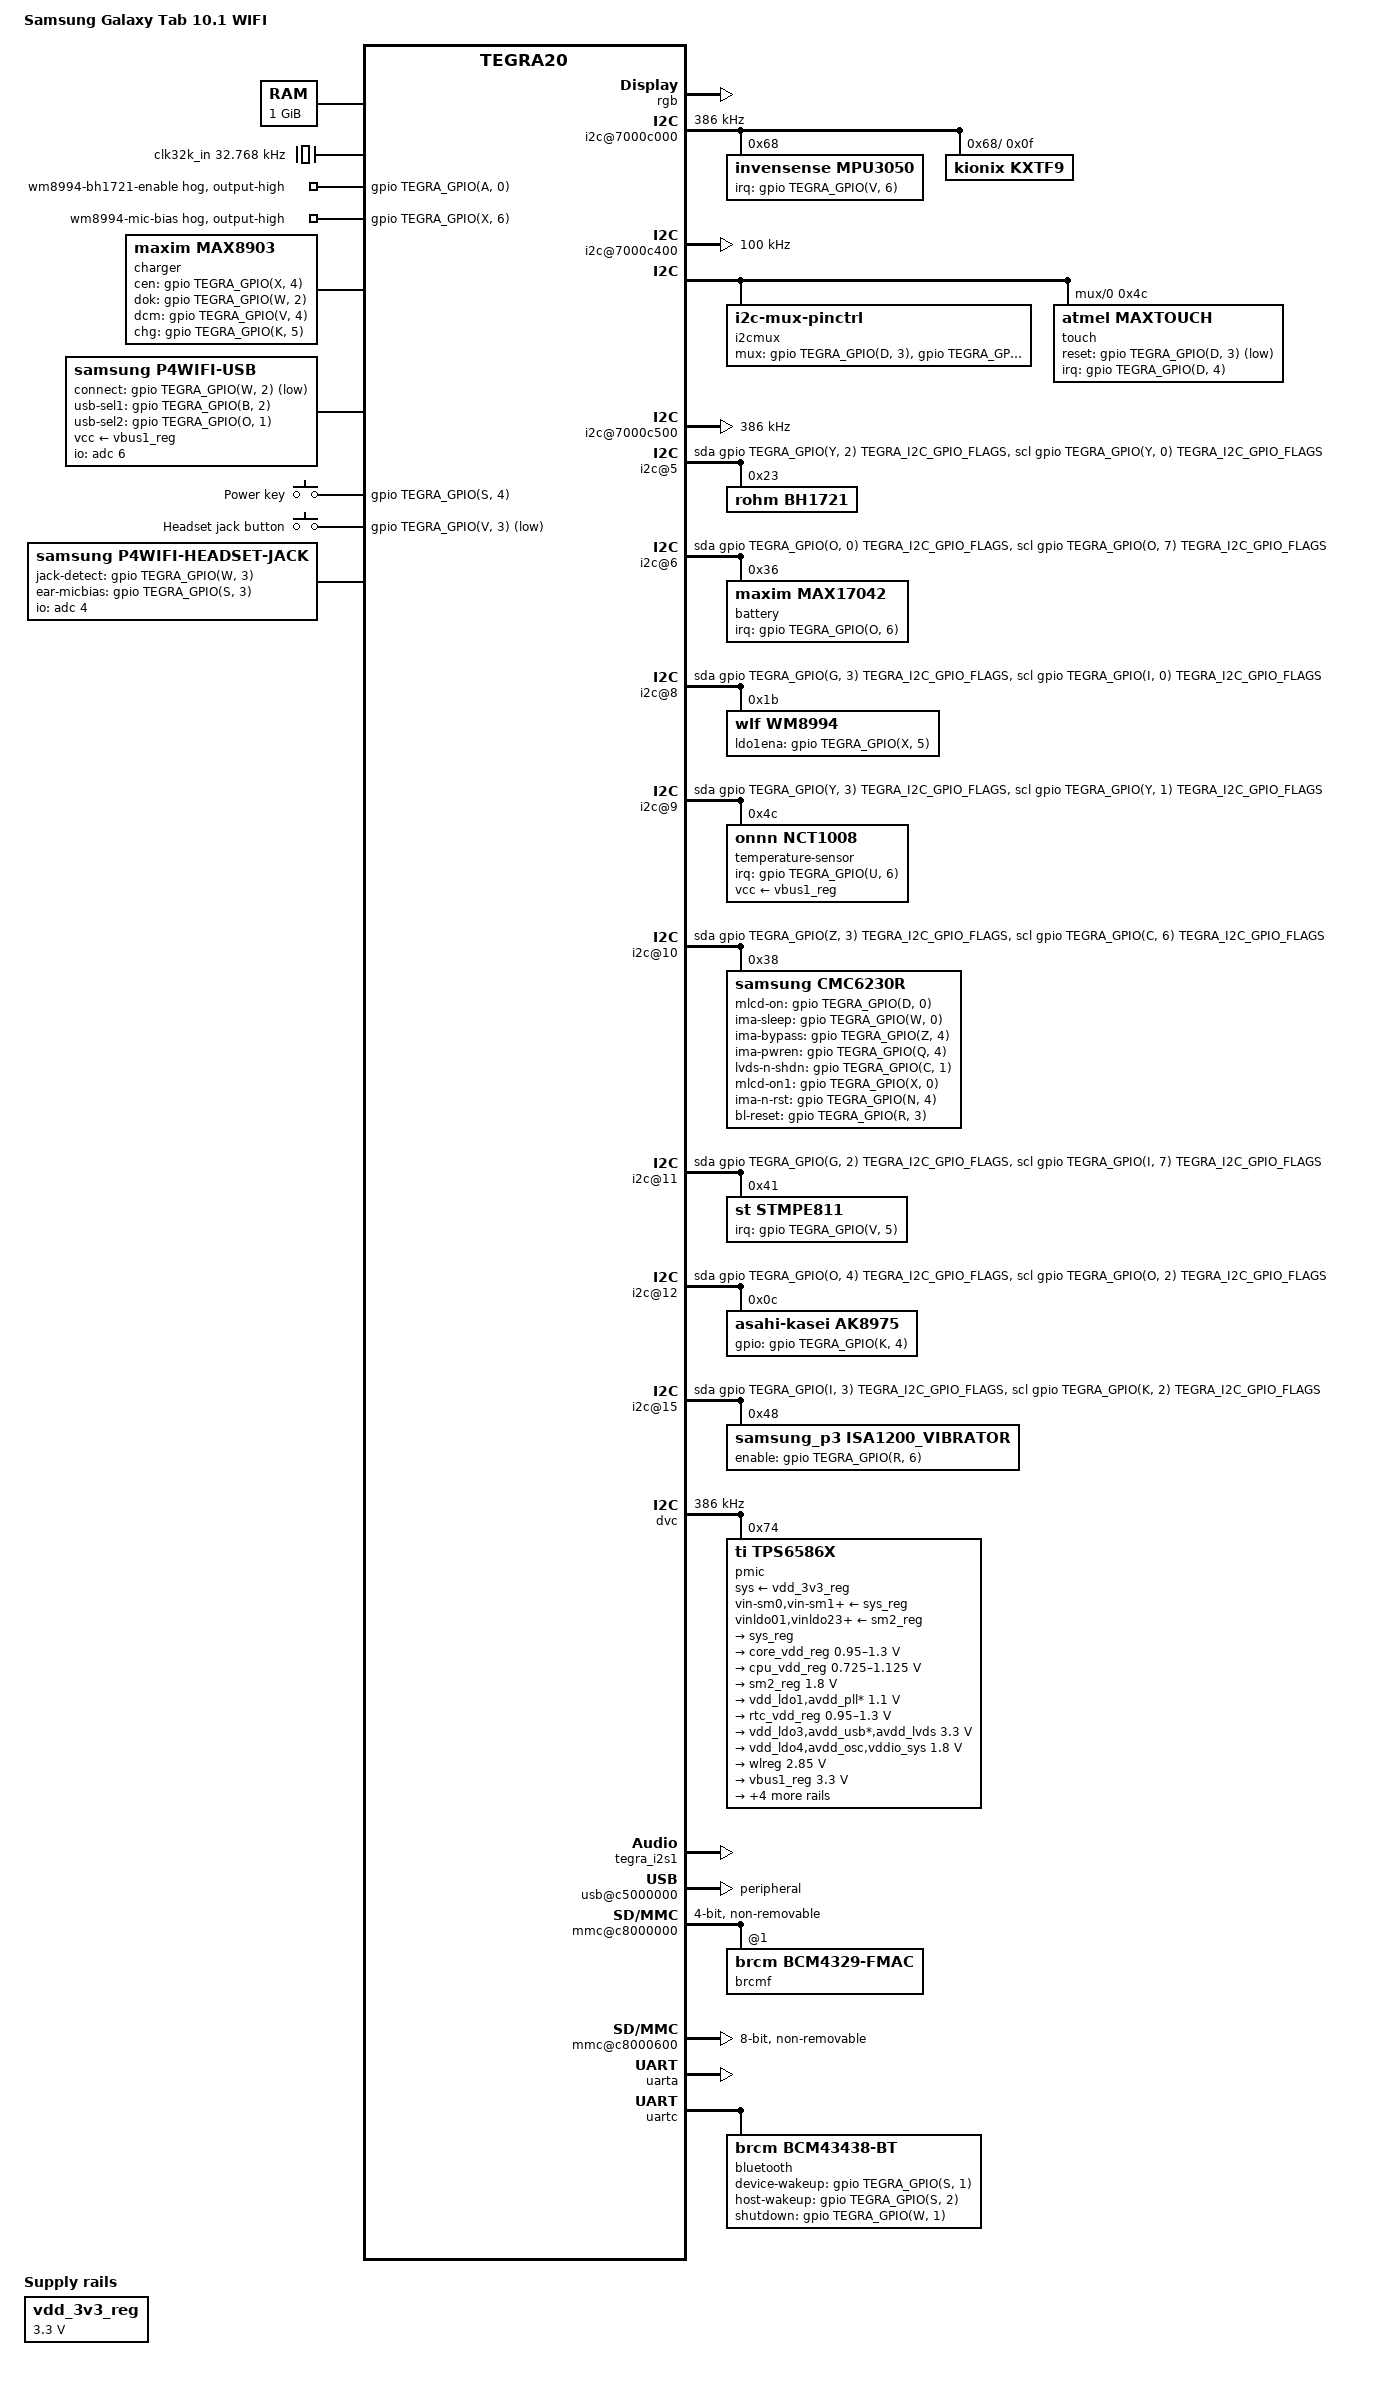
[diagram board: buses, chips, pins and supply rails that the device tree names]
/dts-v1/;

#include <dt-bindings/input/input.h>
#include <dt-bindings/input/atmel-maxtouch.h>
#include "tegra20.dtsi"
#include "tegra20-cpu-opp.dtsi"
#include "tegra20-cpu-opp-microvolt.dtsi"
/*
 * Note that GPIO_OPEN_DRAIN flag has no effect on Tegra, the GPIO is fixed
 * to open-drain mode in board's hardware. We set that flag just for consistency.
 */
#define TEGRA_I2C_GPIO_FLAGS	(GPIO_ACTIVE_HIGH | GPIO_OPEN_DRAIN)

/ {
	model = "Samsung Galaxy Tab 10.1 WIFI";
	compatible = "samsung,p4wifi", "nvidia,tegra20";

	aliases {
		rtc0 = "/i2c@7000d000/tps6586x@74";
		serial0 = &uarta;
		serial2 = &uartc;
		i2c0 = "/i2c@7000c000/mpu3050@68/i2c-gate/ak8975@0c";
	};

	chosen {
		bootargs = "";
	};

	memory@0 {
		reg = <0x00000000 0x40000000>;
	};

	reserved-memory {
		#address-cells = <1>;
		#size-cells = <1>;
		ranges;

		/* bootloader reads/writes magic values in this region */
		bootloader_data: bootloader_data@1FF00000 {
			reg = <0x1FF00000 0x00100000>;
			no-map;
		};

		ramoops: ramoops@2E500000 {
			compatible = "ramoops";
			reg = <0x2E500000 0x00100000>;
			record-size	= <0x00020000>;
			console-size	= <0x00020000>;
			ftrace-size	= <0x00020000>;
			pmsg-size	= <0x00020000>;
		};
	};

	clocks {
		compatible = "simple-bus";
		#address-cells = <1>;
		#size-cells = <0>;

		clk32k_in: clock@0 {
			compatible = "fixed-clock";
			reg=<0>;
			#clock-cells = <0>;
			clock-frequency = <32768>;
		};
	};

	host1x@50000000 {
		dc@54200000 {
			compatible = "nvidia,tegra20-dc";
			clocks = <&tegra_car TEGRA20_CLK_DISP1>,
				 <&tegra_car TEGRA20_CLK_PLL_D_OUT0>;
			clock-names = "dc", "parent";

			assigned-clocks = <&tegra_car TEGRA20_CLK_DISP1>;
			assigned-clock-rates = <68750000>;
			assigned-clock-parents = <&tegra_car TEGRA20_CLK_PLL_D_OUT0>;

			rgb {
				status = "okay";
				nvidia,panel = <&cmc6230r>;
			};
		};
	};

	pinmux@70000014 {
		pinctrl-names = "default";
		pinctrl-0 = <&state_default>;

		state_default: pinmux {
			ata {
				nvidia,pins = "ata", "atc", "atd", "ate", "gmb",
					"gmd", "irrx", "irtx", "spid", "spie";
				nvidia,function = "gmi";
			};
			atb {
				nvidia,pins = "atb", "gma", "gme";
				nvidia,function = "sdio4";
			};
			cdev1 {
				nvidia,pins = "cdev1";
				nvidia,function = "plla_out";
			};
			cdev2 {
				nvidia,pins = "cdev2";
				nvidia,function = "osc";
			};
			crtp {
				nvidia,pins = "crtp";
				nvidia,function = "crt";
			};
			csus {
				nvidia,pins = "csus";
				nvidia,function = "vi_sensor_clk";
			};
			dap1 {
				nvidia,pins = "dap1";
				nvidia,function = "dap1";
			};
			dap2 {
				nvidia,pins = "dap2";
				nvidia,function = "dap2";
			};
			dap3 {
				nvidia,pins = "dap3";
				nvidia,function = "dap3";
			};
			dap4 {
				nvidia,pins = "dap4";
				nvidia,function = "dap4";
			};
			ddc {
				nvidia,pins ="spif", "uac";
				nvidia,function = "rsvd4";
			};
			spif {
				nvidia,pins = "spif", "uac";
				nvidia,function = "rsvd4";
			};
			dta {
				nvidia,pins = "dta", "dtb", "dtc", "dtd", "dte";
				nvidia,function = "vi";
			};
			dtf {
				nvidia,pins = "dtf";
				nvidia,function = "i2c3";
			};
			gmc {
				nvidia,pins = "gmc";
				nvidia,function = "uartd";
			};
			gpu {
				nvidia,pins = "gpu";
				nvidia,function = "uarta";
			};
			gpu7 {
				nvidia,pins = "gpu7";
				nvidia,function = "rtck";
			};
			gpv {
				nvidia,pins = "gpv", "slxa", "slxk";
				nvidia,function = "pcie";
			};
			hdint {
				nvidia,pins = "hdint";
				nvidia,function = "hdmi";
			};
			i2cp {
				nvidia,pins = "i2cp";
				nvidia,function = "i2cp";
			};
			kbca {
				nvidia,pins = "kbca", "kbcb", "kbcc", "kbcd",
					"kbce", "kbcf";
				nvidia,function = "kbc";
			};
			lcsn {
				nvidia,pins = "lcsn",
					"ld0", "ld1", "ld2", "ld3", "ld4",
					"ld5", "ld6", "ld7", "ld8", "ld9",
					"ld10", "ld11", "ld12", "ld13", "ld14",
					"ld15", "ld16", "ld17", "ldc", "ldi",
					"lhp0", "lhp1", "lhp2", "lhs",
					"lm1", "lpp", "lpw1",
					"lsc0", "lsck", "lsda", "lsdi",
					"lspi", "lvp0", "lvp1", "lvs";
				nvidia,function = "displaya";
			};
			lm0 {
				nvidia,pins = "lm0", "lpw0", "lpw2", "lsc1";
				nvidia,function = "spi3";
			};
			owc {
				nvidia,pins = "owc";
				nvidia,function = "owr";
			};
			pmc {
				nvidia,pins = "pmc";
				nvidia,function = "pwr_on";
			};
			rm {
				nvidia,pins = "rm";
				nvidia,function = "i2c1";
			};
			sdb {
				nvidia,pins = "sdb", "sdc", "sdd";
				nvidia,function = "sdio3";
			};
			sdio1 {
				nvidia,pins = "sdio1";
				nvidia,function = "sdio1";
			};
			slxc {
				nvidia,pins = "slxc", "slxd";
				nvidia,function = "spi4";
			};
			spdi {
				nvidia,pins = "spdi", "spdo";
				nvidia,function = "rsvd2";
			};
			spia {
				nvidia,pins = "spia", "spib", "spic";
				nvidia,function = "spi1";
			};
			spig {
				nvidia,pins = "spig", "spih";
				nvidia,function = "spi2_alt";
			};
			uaa {
				nvidia,pins = "uaa", "uab", "uda";
				nvidia,function = "ulpi";
			};
			uad {
				nvidia,pins = "uad";
				nvidia,function = "irda";
			};
			uca {
				nvidia,pins = "uca", "ucb";
				nvidia,function = "uartc";
			};

			ck32 {
				nvidia,pins = "ck32", "ddrc", "pmca", "pmcb", "pmcc", "pmcd", "pmce", "xm2c","xm2d";
			};

			conf_ata {
				nvidia,pins = "ata", "atb", "ddc", "gma", "gmd", "gme", "gpu",
					"irtx", "kbca", "kbcc", "kbce", "pmce", "spie", "spig",
					"spih", "uad", "uca", "ucb";
				nvidia,pull = <TEGRA_PIN_PULL_UP>;
				nvidia,tristate = <TEGRA_PIN_DISABLE>;
			};

			conf_owc {
				nvidia,pins = "owc";
				nvidia,pull = <TEGRA_PIN_PULL_UP>;
				nvidia,tristate = <TEGRA_PIN_ENABLE>;
			};

			conf_atc {
				nvidia,pins = "atc", "ate", "cdev1", "dap1",
				"dap2", "dap4", "dte", "gmc", "gpu7", "gpv", "i2cp",
				"pta", "rm", "slxc", "slxd", "slxk", "spdi", "spdo",
				"uab", "uac";
				nvidia,pull = <TEGRA_PIN_PULL_NONE>;
				nvidia,tristate = <TEGRA_PIN_DISABLE>;
			};

			/*
			 * pin atd is linked to gpios:
			 *   TEGRA_GPIO_PO2 i2c@13 scl
			 *   TEGRA_GPIO_PO3 i2c@13 sda
			 */
			conf_atd {
				nvidia,pins = "atd";
				nvidia,pull = <TEGRA_PIN_PULL_UP>;
				nvidia,tristate = <TEGRA_PIN_DISABLE>;
			};

			/*
			 * pin uaa is linked to gpios:
			 *   TEGRA_GPIO_PO1 usb-sel2
			 *   TEGRA_GPIO_PO2 i2c@12 sda
			 *   TEGRA_GPIO_PO4 i2c@12 scl
			 *
			 *   We want to boot with usb-sel2 high
			 *   so that USB is in AP mode.
			 */
			conf_uaa {
				nvidia,pins = "uaa";
				nvidia,pull = <TEGRA_PIN_PULL_UP>;
				nvidia,tristate = <TEGRA_PIN_DISABLE>;
			};

			conf_uda {
				nvidia,pins = "uda";
				nvidia,pull = <TEGRA_PIN_PULL_UP>;
				nvidia,tristate = <TEGRA_PIN_DISABLE>;
			};

			conf_ck32 {
				nvidia,pins = "ck32", "ddrc", "pmca", "pmcb",
					"pmcc", "pmcd", "xm2c", "xm2d";
				nvidia,pull = <TEGRA_PIN_PULL_NONE>;
				nvidia,tristate = <TEGRA_PIN_DISABLE>;
			};

			conf_crtp {
				nvidia,pins = "crtp", "slxa";
				nvidia,pull = <TEGRA_PIN_PULL_NONE>;
				nvidia,tristate = <TEGRA_PIN_ENABLE>;
			};

			conf_csus {
				nvidia,pins = "csus";
				nvidia,pull = <TEGRA_PIN_PULL_DOWN>;
				nvidia,tristate = <TEGRA_PIN_ENABLE>;
			};

			conf_dap3 {
				nvidia,pins = "dap3", "dta", "dtb", "dtc", "dtd", "dtf",
				"gmb", "irrx", "kbcb", "kbcd", "kbcf",
				"sdc", "sdd", "spia", "spib", "spic", "spid", "spif";
				nvidia,pull = <TEGRA_PIN_PULL_DOWN>;
				nvidia,tristate = <TEGRA_PIN_DISABLE>;
			};

			/* wifi */
			conf_sdio1 {
				nvidia,pins = "sdio1";
				nvidia,pull = <TEGRA_PIN_PULL_NONE>;
				nvidia,tristate = <TEGRA_PIN_DISABLE>;
			};

			/* mxt1386 */
			conf_slxc {
				nvidia,pins = "slxc";
				nvidia,pull = <TEGRA_PIN_PULL_NONE>;
				nvidia,tristate = <TEGRA_PIN_DISABLE>;
			};

			/*
			 * lpw0 is linked to TEGRA_GPIO_PB2 usb-sel1
			 *   Pull mode is not supported on this pin.
			 *   Leave it untouched.
			 */
			conf_lpw0 {
				nvidia,pins = "lpw0";
				nvidia,tristate = <TEGRA_PIN_ENABLE>;
			};

			/* Pull up/down configs from v3.1.10 kernel that don't work on upstream kernel. */
			conf_lcsn {
				nvidia,pins =
					/* pull up */
					"lcsn", "ldc", "lpw1",
					"lpw2", "lsc1", "lsck", "lsda", "lsdi",

					/* pull down */
					"ld0", "ld1", "ld2", "ld3", "ld4", "ld5", "ld6", "ld7", "ld8",
					"ld9", "ld10", "ld11", "ld12", "ld13", "ld14", "ld15",
					"ld16", "ld17", "ldi", "lhp0", "lhp1", "lhp2", "lpp", "lvp1",

					/* pull none */
					"lhs", "lm0", "lm1", "lsc0", "lspi", "lvs", "pmc", "sdb",
					"hdint",
					"lvp0";

				nvidia,tristate = <TEGRA_PIN_DISABLE>;
			};

			conf_lvp0 {
				nvidia,pins = "lvp0";
				nvidia,tristate = <TEGRA_PIN_ENABLE>;
			};

			drive_sdio1 {
				nvidia,pins = "drive_sdio1";
				nvidia,high-speed-mode = <TEGRA_PIN_DISABLE>;
				nvidia,schmitt = <TEGRA_PIN_ENABLE>;
				nvidia,low-power-mode = <TEGRA_PIN_LP_DRIVE_DIV_1>;
				nvidia,pull-down-strength = <31>;
				nvidia,pull-up-strength = <31>;
				nvidia,slew-rate-rising = <TEGRA_PIN_SLEW_RATE_SLOWEST>;
				nvidia,slew-rate-falling = <TEGRA_PIN_SLEW_RATE_SLOWEST>;
			};
		};

		state_i2cmux_ddc: pinmux_i2cmux_ddc {
			ddc {
				nvidia,pins = "ddc";
				nvidia,function = "i2c2";
			};
			pta {
				nvidia,pins = "pta";
				nvidia,function = "rsvd4";
			};
		};

		state_i2cmux_pta: pinmux_i2cmux_pta {
			ddc {
				nvidia,pins = "ddc";
				nvidia,function = "rsvd4";
			};
			pta {
				nvidia,pins = "pta";
				nvidia,function = "i2c2";
			};
		};

		state_i2cmux_idle: pinmux_i2cmux_idle {
			ddc {
				nvidia,pins = "ddc";
				nvidia,function = "rsvd4";
			};
			pta {
				nvidia,pins = "pta";
				nvidia,function = "rsvd4";
			};
		};

		state_isa1200_on: state_isa1200_on {
			cdev2 {
				nvidia,pins = "cdev2";
				nvidia,pull = <TEGRA_PIN_PULL_UP>;
				nvidia,tristate = <TEGRA_PIN_DISABLE>;
			};
		};

		state_isa1200_off: state_isa1200_off {
			cdev2 {
				nvidia,pins = "cdev2";
				nvidia,pull = <TEGRA_PIN_PULL_NONE>;
				nvidia,tristate = <TEGRA_PIN_ENABLE>;
			};
		};
	};

	gpio: gpio@6000d000 {
		compatible = "nvidia,tegra20-gpio";

		/*
		 * Enables wm8994 and bh1721.
		 * According to TRM gpio A0 is linked to pinctrl dte
		 * but this pinctrl doesn't seem to affect the GPIO.
		 */
		wm8994-bh1721-enable {
			gpio-hog;
			gpios = <TEGRA_GPIO(A, 0) GPIO_ACTIVE_HIGH>;
			output-high;
		};

		wm8994-mic-bias {
			gpio-hog;
			gpios = <TEGRA_GPIO(X, 6) GPIO_ACTIVE_HIGH>;
			output-high;
		};
	};

	i2c@7000c000 {
		status = "okay";
		clock-frequency = <386000>;

		assigned-clocks = <&tegra_car TEGRA20_CLK_I2C1>;
		assigned-clock-rates = <386000>;
		assigned-clock-parents =<&tegra_car TEGRA20_CLK_PLL_P>;

		mpu3050@68 {
			compatible = "invensense,mpu3050";
			reg = <0x68>;
			interrupt-parent = <&gpio>;
			interrupts = <TEGRA_GPIO(V, 6) IRQ_TYPE_LEVEL_HIGH>;

			mount-matrix = "0", "1", "0",
					"1", "0", "0",
					"0", "0", "1";

			i2c-gate {
				#address-cells = <1>;
				#size-cells = <0>;

				kxtf9: kxtf9@f {
					compatible = "kionix,kxtf9";
					reg = <0x0F>;
				};
			};
		};
	};

	i2c@7000c400 {
		status = "okay";
		clock-frequency = <100000>;

		assigned-clocks = <&tegra_car TEGRA20_CLK_I2C2>;
		assigned-clock-rates = <100000>;
		assigned-clock-parents =<&tegra_car TEGRA20_CLK_PLL_P>;
	};

	i2cmux {
		compatible = "i2c-mux-pinctrl";
		#address-cells = <1>;
		#size-cells = <0>;

		mux-gpios = <&gpio TEGRA_GPIO(D, 3) GPIO_ACTIVE_HIGH
			&gpio TEGRA_GPIO(D, 4) GPIO_ACTIVE_HIGH
			&gpio TEGRA_GPIO(J, 2) GPIO_ACTIVE_HIGH>;

		i2c-parent = <&{/i2c@7000c400}>;

		pinctrl-names = "ddc", "pta", "idle";
		pinctrl-0 = <&state_i2cmux_ddc>;
		pinctrl-1 = <&state_i2cmux_pta>;
		pinctrl-2 = <&state_i2cmux_idle>;

		i2c@0 {
			reg = <0>;
			#address-cells = <1>;
			#size-cells = <0>;

			touch@4c {
				compatible = "atmel,maxtouch";
				reg = <0x4c>;
				interrupt-parent = <&gpio>;
				interrupts = <TEGRA_GPIO(D, 4) IRQ_TYPE_LEVEL_LOW>;

				reset-gpio = <&gpio TEGRA_GPIO(D, 3) GPIO_ACTIVE_LOW>;

				atmel,wakeup-method = <ATMEL_MXT_WAKEUP_I2C_SCL>;
			};
		};

		i2c@1 {
			reg = <1>;
			#address-cells = <1>;
			#size-cells = <0>;
		};
	};

	i2c@7000c500 {
		status = "okay";
		clock-frequency = <386000>;

		assigned-clocks = <&tegra_car TEGRA20_CLK_I2C3>;
		assigned-clock-rates = <386000>;
		assigned-clock-parents =<&tegra_car TEGRA20_CLK_PLL_P>;
	};

	i2c@5 {
		compatible = "i2c-gpio";
		gpios = <
			&gpio TEGRA_GPIO(Y, 2) TEGRA_I2C_GPIO_FLAGS
			&gpio TEGRA_GPIO(Y, 0) TEGRA_I2C_GPIO_FLAGS >;
		i2c-gpio,delay-us = <1>;
		i2c-gpio,timeout-ms = <0>;
		#address-cells = <1>;
		#size-cells = <0>;

		bh1721: bh1721@23 {
			compatible = "rohm,bh1721";
			reg = <0x23>;
		};
	};

	i2c@6 {
		compatible = "i2c-gpio";
		gpios = <
			&gpio TEGRA_GPIO(O, 0) TEGRA_I2C_GPIO_FLAGS
			&gpio TEGRA_GPIO(O, 7) TEGRA_I2C_GPIO_FLAGS >;
		i2c-gpio,delay-us = <1>;
		i2c-gpio,timeout-ms = <0>;
		#address-cells = <1>;
		#size-cells = <0>;

		battery: max17042-battery@36 {
			compatible = "maxim,max17042";
			reg = <0x36>;

			interrupt-parent = <&gpio>;
			interrupts = <TEGRA_GPIO(O, 6) IRQ_TYPE_LEVEL_HIGH>;

			maxim,rsns-microohm = <10000>;
			maxim,over-volt = <4300>;

			power-supplies = <&charger>;
		};
	};

	i2c@8 {
		compatible = "i2c-gpio";
		gpios = <
			&gpio TEGRA_GPIO(G, 3) TEGRA_I2C_GPIO_FLAGS
			&gpio TEGRA_GPIO(I, 0) TEGRA_I2C_GPIO_FLAGS >;
		i2c-gpio,delay-us = <1>;
		i2c-gpio,timeout-ms = <0>;
		#address-cells = <1>;
		#size-cells = <0>;

		wm8994: wm8994@1b {
			compatible = "wlf,wm8994";
			reg = <0x1B>;

			gpio-controller;
			#gpio-cells = <2>;

			wlf,ldo1ena =  <&gpio TEGRA_GPIO(X, 5) GPIO_ACTIVE_HIGH>;
			wlf,gpio-cfg = <0xA101 0 0 0 0 0 0 0 0 0 0>;

			lineout1-se;
		};
	};

	i2c@9 {
		compatible = "i2c-gpio";
		gpios = <
			&gpio TEGRA_GPIO(Y, 3) TEGRA_I2C_GPIO_FLAGS
			&gpio TEGRA_GPIO(Y, 1) TEGRA_I2C_GPIO_FLAGS >;
		i2c-gpio,delay-us = <1>;
		i2c-gpio,timeout-ms = <0>;
		#address-cells = <1>;
		#size-cells = <0>;

		temperature-sensor@4c {
			compatible = "onnn,nct1008";
			reg = <0x4c>;
			vcc-supply = <&vbus1_reg>;
			interrupt-parent = <&gpio>;
			interrupts = <TEGRA_GPIO(U, 6) IRQ_TYPE_LEVEL_HIGH>;
		};
	};

	i2c@10 {
		compatible = "i2c-gpio";
		gpios = <
			&gpio TEGRA_GPIO(Z, 3) TEGRA_I2C_GPIO_FLAGS
			&gpio TEGRA_GPIO(C, 6) TEGRA_I2C_GPIO_FLAGS >;
		i2c-gpio,delay-us = <3>;
		i2c-gpio,timeout-ms = <0>;
		#address-cells = <1>;
		#size-cells = <0>;

		cmc6230r: display@38 {
			compatible = "samsung,cmc6230r";
			reg = <0x38>;

			clocks = <&tegra_car TEGRA20_CLK_DISP1>,
				 <&tegra_car TEGRA20_CLK_PLL_D_OUT0>;
			clock-names = "dc", "parent";

			mlcd-on-gpio = <&gpio TEGRA_GPIO(D, 0) GPIO_ACTIVE_HIGH>;
			ima-sleep-gpio = <&gpio TEGRA_GPIO(W, 0) GPIO_ACTIVE_HIGH>;
			ima-bypass-gpio = <&gpio TEGRA_GPIO(Z, 4) GPIO_ACTIVE_HIGH>;
			ima-pwren-gpio = <&gpio TEGRA_GPIO(Q, 4) GPIO_ACTIVE_HIGH>;
			lvds-n-shdn-gpio = <&gpio TEGRA_GPIO(C, 1) GPIO_ACTIVE_HIGH>;
			mlcd-on1-gpio = <&gpio TEGRA_GPIO(X, 0) GPIO_ACTIVE_HIGH>;
			ima-n-rst-gpio = <&gpio TEGRA_GPIO(N, 4) GPIO_ACTIVE_HIGH>;
			bl-reset-gpio = <&gpio TEGRA_GPIO(R, 3) GPIO_ACTIVE_HIGH>;
		};
	};
	i2c@11 {
		compatible = "i2c-gpio";
		gpios = <
			&gpio TEGRA_GPIO(G, 2) TEGRA_I2C_GPIO_FLAGS
			&gpio TEGRA_GPIO(I, 7) TEGRA_I2C_GPIO_FLAGS >;
		i2c-gpio,delay-us = <3>;
		i2c-gpio,timeout-ms = <0>;
		#address-cells = <1>;
		#size-cells = <0>;

		stmpe811@41 {
			compatible = "st,stmpe811";
			#address-cells = <1>;
			#size-cells = <0>;
			reg = <0x41>;
			interrupts = <TEGRA_GPIO(V, 5) IRQ_TYPE_LEVEL_LOW>;
			interrupt-parent = <&gpio>;
			interrupt-controller;

			st,adc-freq = <3>;
			st,ave-ctrl = <3>;
			st,mod-12b = <1>;
			st,ref-sel = <0>;

			adc: stmpe_adc {
				compatible = "st,stmpe-adc";
				#io-channel-cells = <1>;
				/* dont use ADC CH3-0 */
				/* st,norequest-mask = <0x0F>; */
			};
		};
	};

	i2c@12 {
		compatible = "i2c-gpio";
		gpios = <
			&gpio TEGRA_GPIO(O, 4) TEGRA_I2C_GPIO_FLAGS
			&gpio TEGRA_GPIO(O, 2) TEGRA_I2C_GPIO_FLAGS >;
		i2c-gpio,delay-us = <1>;
		i2c-gpio,timeout-ms = <0>;
		#address-cells = <1>;
		#size-cells = <0>;

		ak8975@c {
				compatible = "asahi-kasei,ak8975";
				reg = <0xc>;
				gpios = <&gpio TEGRA_GPIO(K, 4) GPIO_ACTIVE_HIGH>;
				/* vdd-supply = <&ldo_3v3_gnss>; */
				mount-matrix = "-0.984807753012208",  /* x0 */
							   "0",                   /* y0 */
							   "-0.173648177666930",  /* z0 */
							   "0",                   /* x1 */
							   "-1",                  /* y1 */
							   "0",                   /* z1 */
							   "-0.173648177666930",  /* x2 */
							   "0",                   /* y2 */
							   "0.984807753012208";   /* z2 */
		};
	};

	i2c@15 {
		compatible = "i2c-gpio";
		gpios = <
			&gpio TEGRA_GPIO(I, 3) TEGRA_I2C_GPIO_FLAGS
			&gpio TEGRA_GPIO(K, 2) TEGRA_I2C_GPIO_FLAGS >;
		i2c-gpio,delay-us = <1>;
		i2c-gpio,timeout-ms = <0>;
		#address-cells = <1>;
		#size-cells = <0>;

		@48 {
			compatible = "samsung_p3,isa1200_vibrator";
			reg = <0x48>;
			enable-gpio = <&gpio TEGRA_GPIO(R, 6) GPIO_ACTIVE_HIGH>;

			max-timeout = <10000>;
			ctrl0 = <17>;
			ctrl1 = <192>;
			ctrl2 = <0>;
			ctrl4 = <0>;
			pll = <0x23>;
			duty = <0x71>;
			period = <0x74>;

			clocks = <&tegra_car TEGRA20_CLK_CDEV2>;
			clock-names = "vibrator-clk";

			pinctrl-names = "on", "off";
			pinctrl-0 = <&state_isa1200_on>;
			pinctrl-1 = <&state_isa1200_off>;
		};
	};

	dvc: i2c@7000d000 {
		status = "okay";
		clock-frequency = <386000>;

		assigned-clocks = <&tegra_car TEGRA20_CLK_DVC>;
		assigned-clock-rates = <386000>;
		assigned-clock-parents =<&tegra_car TEGRA20_CLK_PLL_P>;

		pmic: tps6586x@74 {
			compatible = "ti,tps6586x";
			reg = <0x74>;
			interrupts = <GIC_SPI 86 IRQ_TYPE_LEVEL_HIGH>;

			ti,system-power-controller;
			#gpio-cells = <2>;
			gpio-controller;

			sys-supply = <&vdd_3v3_reg>;
			vin-sm0-supply = <&sys_reg>;
			vin-sm1-supply = <&sys_reg>;
			vin-sm2-supply = <&sys_reg>;
			vinldo01-supply = <&sm2_reg>;
			vinldo23-supply = <&sm2_reg>;
			vinldo4-supply = <&sm2_reg>;
			vinldo678-supply = <&sm2_reg>;
			vinldo9-supply = <&sm2_reg>;

			regulators {
				sys_reg: sys {
					regulator-name = "vdd_sys";
					regulator-boot-on;
					regulator-always-on;
				};

				core_vdd_reg: sm0 {
					regulator-name = "vdd_sm0,vdd_core";
					regulator-min-microvolt = <950000>;
					regulator-max-microvolt = <1300000>;
					regulator-coupled-with = <&rtc_vdd_reg &cpu_vdd_reg>;
					regulator-coupled-max-spread = <170000 550000>;
					regulator-always-on;
					regulator-boot-on;

					nvidia,tegra-core-regulator;
				};

				cpu_vdd_reg: sm1 {
					regulator-name = "vdd_sm1,vdd_cpu";
					regulator-min-microvolt = <725000>;
					regulator-max-microvolt = <1125000>;
					regulator-coupled-with = <&core_vdd_reg &rtc_vdd_reg>;
					regulator-coupled-max-spread = <550000 550000>;
					regulator-always-on;
					regulator-boot-on;

					nvidia,tegra-cpu-regulator;
				};

				sm2_reg: sm2 {
					regulator-name = "vdd_sm2,DBVDD,AVDD2,CPVDD";
					regulator-min-microvolt = <1800000>;
					regulator-max-microvolt = <1800000>;
					regulator-always-on;
				};

				/* LDO0 is not connected to anything */

				ldo1 {
					regulator-name = "vdd_ldo1,avdd_pll*";
					regulator-min-microvolt = <1100000>;
					regulator-max-microvolt = <1100000>;
					regulator-always-on;
				};

				rtc_vdd_reg: ldo2 {
					regulator-name = "vdd_ldo2,vdd_rtc,vdd_aon";
					regulator-min-microvolt = <950000>;
					regulator-max-microvolt = <1300000>;
					regulator-coupled-with = <&core_vdd_reg &cpu_vdd_reg>;
					regulator-coupled-max-spread = <170000 550000>;
					regulator-always-on;
					regulator-boot-on;

					nvidia,tegra-rtc-regulator;
				};

				ldo3 {
					regulator-name = "vdd_ldo3,avdd_usb*,avdd_lvds";
					regulator-min-microvolt = <3300000>;
					regulator-max-microvolt = <3300000>;
					regulator-always-on;
				};

				ldo4 {
					regulator-name = "vdd_ldo4,avdd_osc,vddio_sys";
					regulator-min-microvolt = <1800000>;
					regulator-max-microvolt = <1800000>;
					regulator-always-on;
				};

				wlreg: ldo5 {
					regulator-name = "vdd_ldo5,vcore_mmc";
					regulator-min-microvolt = <2850000>;
					regulator-max-microvolt = <2850000>;
				};

				vbus1_reg: ldo6 {
					regulator-name = "vdd_ldo6,vddio_vi,vdd_nct1008";
					regulator-min-microvolt = <3300000>;
					regulator-max-microvolt = <3300000>;
					regulator-boot-on;
				};

				ldo7 {
					regulator-name = "vdd_ldo7,avdd_hdmi,vdd_fuse";
					regulator-min-microvolt = <3300000>;
					regulator-max-microvolt = <3300000>;
				};

				ldo8 {
					regulator-name = "vdd_ldo8,avdd_hdmi_pll";
					regulator-min-microvolt = <1800000>;
					regulator-max-microvolt = <1800000>;
				};

				ldo9 {
					regulator-name = "vdd_ldo9,avdd_2v85,vdd_ddr_rx";
					regulator-min-microvolt = <2850000>;
					regulator-max-microvolt = <2850000>;
					regulator-always-on;
				};

				ldo_rtc {
					regulator-name = "vdd_rtc_out,vdd_cell";
					regulator-min-microvolt = <3300000>;
					regulator-max-microvolt = <3300000>;
					regulator-always-on;
				};
			};
		};
	};

	pmc@7000e400 {
		nvidia,invert-interrupt;
		nvidia,suspend-mode = <1>;
		nvidia,cpu-pwr-good-time = <2000>;
		nvidia,cpu-pwr-off-time = <100>;
		nvidia,core-pwr-good-time = <126 126>;
		nvidia,core-pwr-off-time = <15>;
		nvidia,sys-clock-req-active-high;
		nvidia,lp0-vec = <0x1840E000 0x2000>;
		core-supply = <&core_vdd_reg>;
	};

	vdd_3v3_reg: regulator {
		compatible = "regulator-fixed";
		regulator-name = "vdd_3v3";
		regulator-min-microvolt = <3300000>;
		regulator-max-microvolt = <3300000>;
		regulator-always-on;
	};

	charger: max8903-charger {
		compatible = "maxim,max8903";
		cen-gpios = <&gpio TEGRA_GPIO(X, 4) GPIO_ACTIVE_HIGH>;
		dok-gpios = <&gpio TEGRA_GPIO(W, 2) GPIO_ACTIVE_HIGH>;
		dcm-gpios = <&gpio TEGRA_GPIO(V, 4) GPIO_ACTIVE_HIGH>;
		chg-gpios = <&gpio TEGRA_GPIO(K, 5) GPIO_ACTIVE_HIGH>;
	};

	p4wifi-usb {
		compatible = "samsung,p4wifi-usb";
		interrupt-parent = <&gpio>;
		/* interrupts = <TEGRA_GPIO(W, 2) IRQ_TYPE_LEVEL_LOW>; */

		vcc-supply = <&vbus1_reg>;

		connect-gpios = <&gpio TEGRA_GPIO(W, 2) GPIO_ACTIVE_LOW>;
		usb-sel1-gpio = <&gpio TEGRA_GPIO(B, 2) GPIO_ACTIVE_HIGH>;
		usb-sel2-gpio = <&gpio TEGRA_GPIO(O, 1) GPIO_ACTIVE_HIGH>;

		io-channels = <&adc 6>;
		io-channel-names = "usb-cable-detect";
	};

	gpio-keys {
		compatible = "gpio-keys";

		power {
			label = "Power key";
			gpios = <&gpio TEGRA_GPIO(S, 4) GPIO_ACTIVE_HIGH>;
			linux,code = <116>; /* KEY_POWER */
			gpio-key,wakeup;
			debounce-interval = <10>;
		};

		jack_button {
			label = "Headset jack button";
			gpios = <&gpio TEGRA_GPIO(V, 3) GPIO_ACTIVE_LOW>;
			linux,code = <240>; /* KEY_UNKNOWN */
			debounce-interval = <30>;
		};
	};

	keyboard: keyboard {
		compatible = "nvidia,tegra20-kbc";
		reg = <0x7000e200 0x100>;
		interrupts = <0 85 0x04>;
		clocks = <&tegra_car 36>;
		resets = <&tegra_car 36>;
		reset-names = "kbc";
		nvidia,debounce-delay-ms = <10>;
		nvidia,repeat-delay-ms = <1024>;
		nvidia,kbc-row-pins = <0 1>;
		nvidia,kbc-col-pins = <17>;
		linux,keymap = <
			MATRIX_KEY(0x00, 0x00, KEY_VOLUMEDOWN)
			MATRIX_KEY(0x01, 0x00, KEY_VOLUMEUP) >;
	};

	headset-jack {
		compatible = "samsung,p4wifi-headset-jack";

		jack-detect-gpio = <&gpio TEGRA_GPIO(W, 3) GPIO_ACTIVE_HIGH>;
		ear-micbias-gpio = <&gpio TEGRA_GPIO(S, 3) GPIO_ACTIVE_HIGH>;

		io-channels = <&adc 4>;
		io-channel-names = "headset-jack-detect";

		jack-zones {
			jack_zone0 {
				adc-high = <0>;
				delay-ms = <1>;
				check-count = <2>;
				jack-type = <2>; /* SEC_HEADSET_3POLE */
			};
			jack_zone1 {
				adc-high = <900>;
				delay-ms = <1>;
				check-count = <20>;
				jack-type = <2>; /* SEC_HEADSET_3POLE */
			};
			jack_zone2 {
				adc-high = <2000>;
				delay-ms = <1>;
				check-count = <2>;
				jack-type = <1>; /* SEC_HEADSET_4POLE */
			};
			jack_zone3 {
				adc-high = <3800>;
				delay-ms = <1>;
				check-count = <2>;
				jack-type = <1>; /* SEC_HEADSET_4POLE */
			};
			jack_zone4 {
				adc-high = <0x7fffffff>;
				delay-ms = <1>;
				check-count = <50>;
				jack-type = <2>; /* SEC_HEADSET_3POLE */
			};
		};

		jack-button-zones {
			jack_button0 {
				code = <KEY_MEDIA>;
				adc-low = <0>;
				adc-high = <150>;
			};
			jack_button1 {
				code = <KEY_VOLUMEUP>;
				adc-low = <151>;
				adc-high = <330>;
			};
			jack_button2 {
				code = <KEY_VOLUMEDOWN>;
				adc-low = <331>;
				adc-high = <1000>;
			};
		};
	};

	tegra_i2s1: i2s@70002800 {
		status = "okay";
	};

	sound {
		compatible = "nvidia,tegra-audio-wm8994";
		nvidia,model = "wm8994-aif1";

		nvidia,i2s-controller = <&tegra_i2s1>;
		nvidia,audio-codec = <&wm8994>;

		clocks = <&tegra_car TEGRA20_CLK_PLL_A>,
			 <&tegra_car TEGRA20_CLK_PLL_A_OUT0>,
			 <&tegra_car TEGRA20_CLK_CDEV1>;
		clock-names = "pll_a", "pll_a_out0", "mclk";
	};

	usb@c5000000 {
		compatible = "nvidia,tegra20-udc";
		status = "okay";
		dr_mode = "peripheral";
	};

	usb-phy@c5000000 {
		status = "okay";
		vbus-supply = <&vbus1_reg>;
	};

	mmc@c8000000 {
		status = "okay";
		bus-width = <4>;
		power-gpios = <&gpio TEGRA_GPIO(Q, 2) GPIO_ACTIVE_HIGH>;
		keep-power-in-suspend;
		broken-cd;
		no-1-8-v;
		non-removable;

		brcmf: wifi@1 {
			compatible = "brcm,bcm4329-fmac";
		};
	};

	mmc@c8000600 {
		status = "okay";
		bus-width = <8>;
		non-removable;
	};

	uarta: serial@70006000 {
		compatible = "nvidia,tegra20-hsuart";
		status = "okay";
	};

	uartc: serial@70006200 {
		compatible = "nvidia,tegra20-hsuart";
		status = "okay";

		bluetooth {
			compatible = "brcm,bcm43438-bt";

			device-wakeup-gpio = <&gpio TEGRA_GPIO(S, 1) GPIO_ACTIVE_HIGH>;
			host-wakeup-gpios = <&gpio TEGRA_GPIO(S, 2) GPIO_ACTIVE_HIGH>;

			shutdown-gpio = <&gpio TEGRA_GPIO(W, 1) GPIO_ACTIVE_HIGH>;

			clocks = <&tegra_car TEGRA20_CLK_UARTC>;
			clock-names = "uartc";

			max-speed = <2000000>;
		};
	};

	memory-controller@7000f400 {
		emc-table@25000 {
			reg = <25000>;
			compatible = "nvidia,tegra20-emc-table";
			clock-frequency = < 25000 >;
			nvidia,emc-registers = < 0x00000002 0x00000006
				0x00000003 0x00000003 0x00000006 0x00000004
				0x00000002 0x0000000b 0x00000003 0x00000003
				0x00000002 0x00000002 0x00000003 0x00000005
				0x00000004 0x00000008 0x0000000c 0x0000004d
				0x00000000 0x00000003 0x00000003 0x00000003
				0x00000008 0x00000001 0x0000000b 0x00000004
				0x00000003 0x00000008 0x00000004 0x00000008
				0x00000002 0x00000068 0x00000004 0x00000003
				0x00000000 0x00000000 0x00000282 0xa09404ae
				0x0007c000 0x00000000 0x00000000 0x00000003
				0x00000000 0x00000000 0x00000000 0x00000000 >;
		};
		emc-table@50000 {
			reg = <50000>;
			compatible = "nvidia,tegra20-emc-table";
			clock-frequency = < 50000 >;
			nvidia,emc-registers = < 0x00000003 0x00000007
				0x00000003 0x00000003 0x00000006 0x00000004
				0x00000002 0x0000000b 0x00000003 0x00000003
				0x00000002 0x00000002 0x00000003 0x00000006
				0x00000004 0x00000008 0x0000000c 0x0000009f
				0x00000000 0x00000003 0x00000003 0x00000003
				0x00000008 0x00000001 0x0000000b 0x00000007
				0x00000003 0x00000008 0x00000004 0x00000008
				0x00000002 0x000000d0 0x00000005 0x00000000
				0x00000000 0x00000000 0x00000282 0xa09404ae
				0x0007c000 0x00000000 0x00000000 0x00000005
				0x00000000 0x00000000 0x00000000 0x00000000 >;
		};
		emc-table@75000 {
			reg = <75000>;
			compatible = "nvidia,tegra20-emc-table";
			clock-frequency = < 75000 >;
			nvidia,emc-registers = < 0x00000005 0x0000000a
				0x00000004 0x00000003 0x00000006 0x00000004
				0x00000002 0x0000000b 0x00000003 0x00000003
				0x00000002 0x00000002 0x00000003 0x00000006
				0x00000004 0x00000008 0x0000000c 0x000000ff
				0x00000000 0x00000003 0x00000003 0x00000003
				0x00000008 0x00000001 0x0000000b 0x0000000b
				0x00000003 0x00000008 0x00000004 0x00000008
				0x00000002 0x00000138 0x00000005 0x00000000
				0x00000000 0x00000000 0x00000282 0xa09404ae
				0x0007c000 0x00000000 0x00000000 0x00000007
				0x00000000 0x00000000 0x00000000 0x00000000 >;
		};
		emc-table@150000 {
			reg = <150000>;
			compatible = "nvidia,tegra20-emc-table";
			clock-frequency = < 150000 >;
			nvidia,emc-registers = < 0x00000009 0x00000014
				0x00000007 0x00000003 0x00000006 0x00000004
				0x00000002 0x0000000b 0x00000003 0x00000003
				0x00000002 0x00000002 0x00000003 0x00000006
				0x00000004 0x00000008 0x0000000c 0x0000021f
				0x00000000 0x00000003 0x00000003 0x00000003
				0x00000008 0x00000001 0x0000000b 0x00000015
				0x00000003 0x00000008 0x00000004 0x00000008
				0x00000002 0x00000270 0x00000005 0x00000001
				0x00000000 0x00000000 0x00000282 0xa06804ae
				0x007dc010 0x00000000 0x00000000 0x0000000e
				0x00000000 0x00000000 0x00000000 0x00000000 >;
		};
		emc-table@300000 {
			reg = <300000>;
			compatible = "nvidia,tegra20-emc-table";
			clock-frequency = < 300000 >;
			nvidia,emc-registers = < 0x00000012 0x00000027
				0x0000000d 0x00000006 0x00000007 0x00000005
				0x00000003 0x0000000b 0x00000006 0x00000006
				0x00000003 0x00000003 0x00000003 0x00000007
				0x00000004 0x00000009 0x0000000d 0x0000045f
				0x00000000 0x00000004 0x00000004 0x00000006
				0x00000008 0x00000001 0x0000000f 0x0000002a
				0x00000003 0x0000000f 0x00000007 0x00000007
				0x00000002 0x000004e0 0x00000006 0x00000002
				0x00000000 0x00000000 0x00000282 0xe04e048b
				0x007e0010 0x00000000 0x00000000 0x0000001b
				0x00000000 0x00000000 0x00000000 0x00000000 >;
		};
	};
};

&emc_icc_dvfs_opp_table {
	/delete-node/ opp@666000000;
	/delete-node/ opp@760000000;
};
